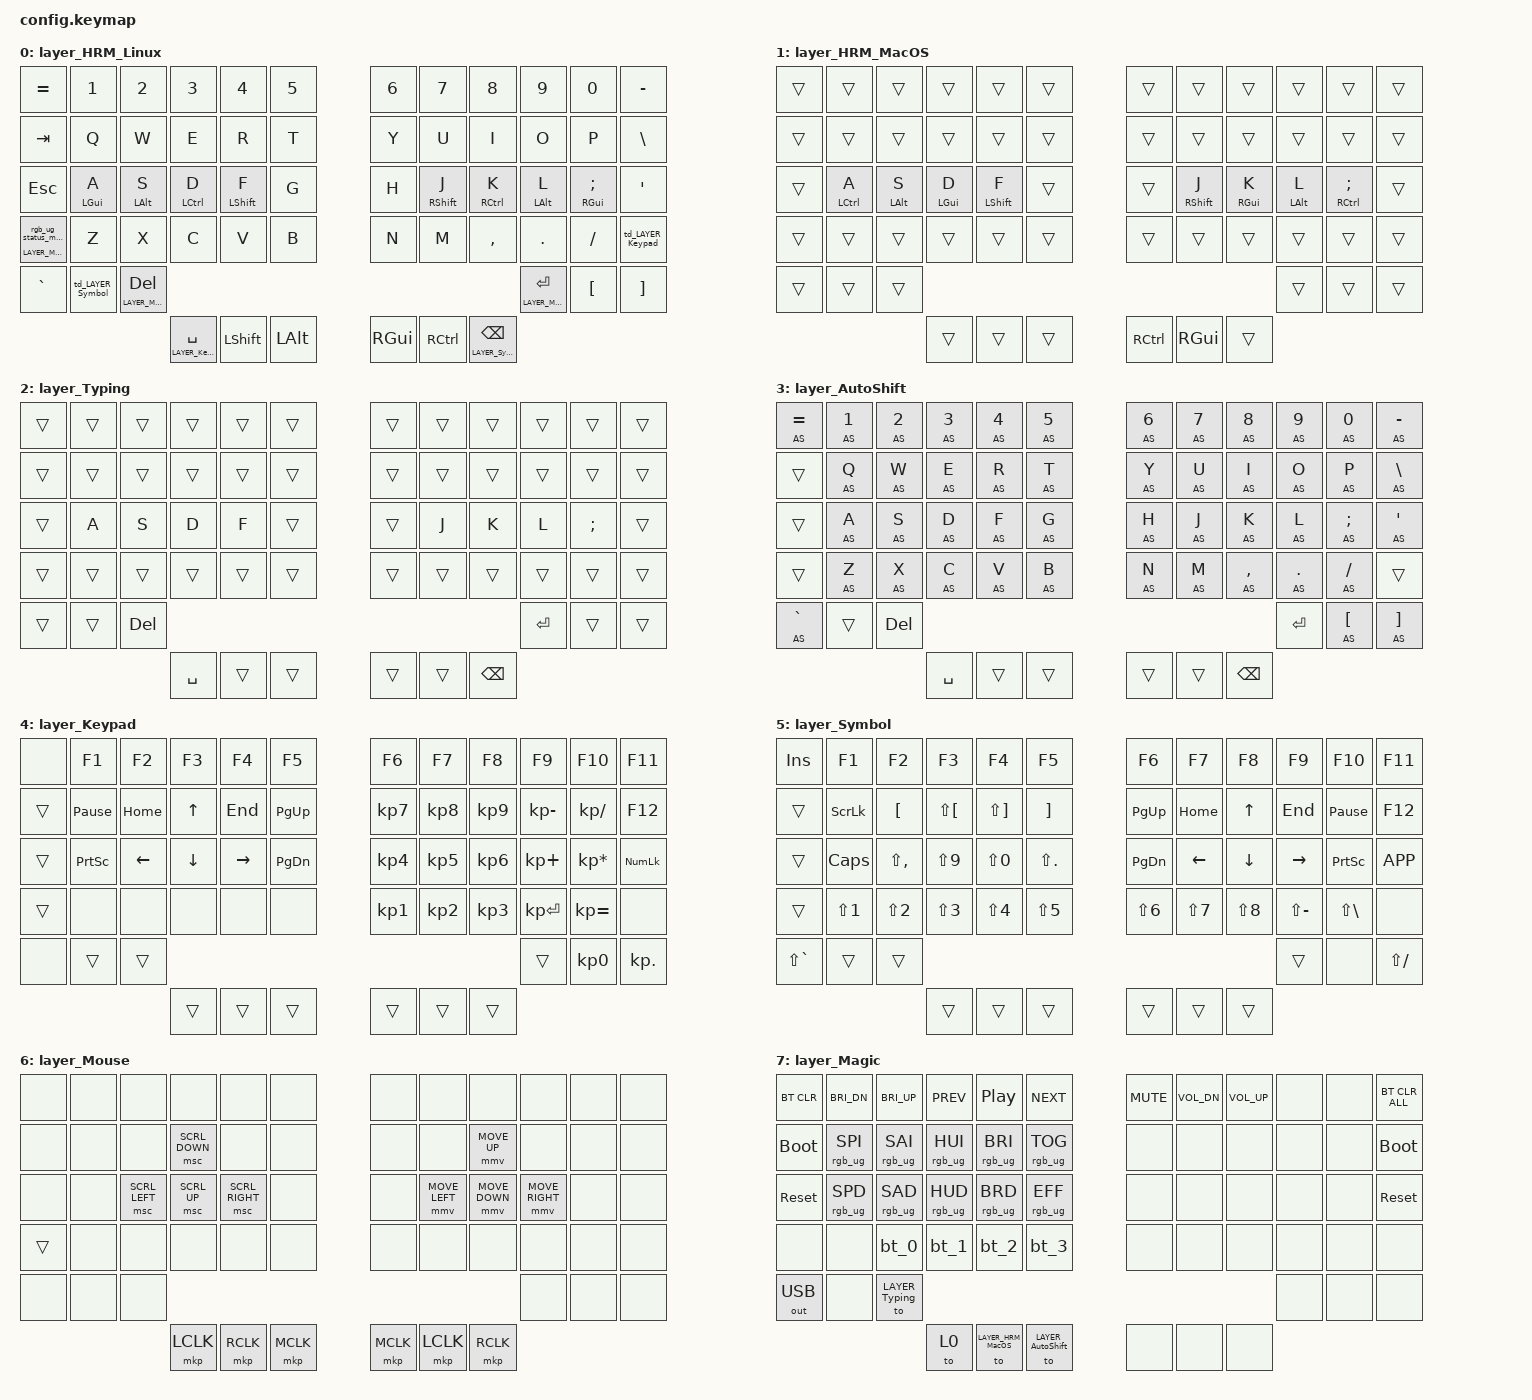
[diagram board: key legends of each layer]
/*
 * Copyright (c) 2020 The ZMK Contributors
 * Copyright (c) 2025 Innaworks Development Limited, trading as MoErgo
 *
 * SPDX-License-Identifier: MIT
 */


/* THIS FILE WAS GENERATED BY GO60 LAYOUT EDITOR
 *
 * This file was generated automatically. You may or may not want to
 * edit it directly.
 */

#include <behaviors.dtsi>

/* Include all behavior includes needed */

#include <dt-bindings/zmk/outputs.h>
#include <dt-bindings/zmk/keys.h>
#include <dt-bindings/zmk/bt.h>
#include <dt-bindings/zmk/rgb.h>

#include <input/processors.dtsi>
#include <dt-bindings/zmk/input_transform.h>
#include <zephyr/dt-bindings/input/input-event-codes.h>

/* On demand includes */
#include <dt-bindings/zmk/input_transform.h>
#include <dt-bindings/zmk/pointing.h>
#include <input/processors.dtsi>

/* Helper Macros, based on https://github.com/urob/zmk-helpers/ */

#pragma once

#define ZMK_HELPER_STRINGIFY(x) #x

// Preprocessor mechanism to overload macros, cf. https://stackoverflow.com/a/27051616/6114651
#define VARGS_(_10, _9, _8, _7, _6, _5, _4, _3, _2, _1, N, ...) N
#define VARGS(...) VARGS_(__VA_ARGS__, 10, 9, 8, 7, 6, 5, 4, 3, 2, 1, 0)
#define CONCAT_(a, b) a##b
#define CONCAT(a, b) CONCAT_(a, b)

#define ZMK_BEHAVIOR_CORE_tap_dance  \
    compatible = "zmk,behavior-tap-dance"; \
    #binding-cells = <0>

#define ZMK_BEHAVIOR(name, type, ...) \
    name: name { \
        ZMK_BEHAVIOR_CORE_ ## type; \
        __VA_ARGS__ \
    };

#define ZMK_TAP_DANCE(name, ...) \
    ZMK_BEHAVIOR(name, tap_dance, __VA_ARGS__)

#define ZMK_TD_LAYER(name, layer) \
    ZMK_TAP_DANCE(name, \
        tapping-term-ms = <200>; \
        bindings = <&mo layer>, <&to layer>; \
)





/* Key positions */

#define POS_LH_C6R1 0
#define POS_LH_C5R1 1
#define POS_LH_C4R1 2
#define POS_LH_C3R1 3
#define POS_LH_C2R1 4
#define POS_LH_C1R1 5
#define POS_RH_C1R1 6
#define POS_RH_C2R1 7
#define POS_RH_C3R1 8
#define POS_RH_C4R1 9
#define POS_RH_C5R1 10
#define POS_RH_C6R1 11
#define POS_LH_C6R2 12
#define POS_LH_C5R2 13
#define POS_LH_C4R2 14
#define POS_LH_C3R2 15
#define POS_LH_C2R2 16
#define POS_LH_C1R2 17
#define POS_RH_C1R2 18
#define POS_RH_C2R2 19
#define POS_RH_C3R2 20
#define POS_RH_C4R2 21
#define POS_RH_C5R2 22
#define POS_RH_C6R2 23
#define POS_LH_C6R3 24
#define POS_LH_C5R3 25
#define POS_LH_C4R3 26
#define POS_LH_C3R3 27
#define POS_LH_C2R3 28
#define POS_LH_C1R3 29
#define POS_RH_C1R3 30
#define POS_RH_C2R3 31
#define POS_RH_C3R3 32
#define POS_RH_C4R3 33
#define POS_RH_C5R3 34
#define POS_RH_C6R3 35
#define POS_LH_C6R4 36
#define POS_LH_C5R4 37
#define POS_LH_C4R4 38
#define POS_LH_C3R4 39
#define POS_LH_C2R4 40
#define POS_LH_C1R4 41
#define POS_RH_C1R4 42
#define POS_RH_C2R4 43
#define POS_RH_C3R4 44
#define POS_RH_C4R4 45
#define POS_RH_C5R4 46
#define POS_RH_C6R4 47
#define POS_LH_C4R5 48
#define POS_LH_C3R5 49
#define POS_LH_C2R5 50
#define POS_RH_C2R5 51
#define POS_RH_C3R5 52
#define POS_RH_C4R5 53
#define POS_LH_T1 54
#define POS_LH_T2 55
#define POS_LH_T3 56
#define POS_RH_T3 57
#define POS_RH_T2 58
#define POS_RH_T1 59


#define LEFT_HAND_KEYS \
  POS_LH_C1R1 POS_LH_C2R1 POS_LH_C3R1 POS_LH_C4R1 POS_LH_C5R1 POS_LH_C6R1 \
  POS_LH_C1R2 POS_LH_C2R2 POS_LH_C3R2 POS_LH_C4R2 POS_LH_C5R2 POS_LH_C6R2 \
  POS_LH_C1R3 POS_LH_C2R3 POS_LH_C3R3 POS_LH_C4R3 POS_LH_C5R3 POS_LH_C6R3 \
  POS_LH_C1R4 POS_LH_C2R4 POS_LH_C3R4 POS_LH_C4R4 POS_LH_C5R4 POS_LH_C6R4 \
              POS_LH_C2R5 POS_LH_C3R5 POS_LH_C4R5

#define RIGHT_HAND_KEYS \
  POS_RH_C1R1 POS_RH_C2R1 POS_RH_C3R1 POS_RH_C4R1 POS_RH_C5R1 POS_RH_C6R1 \
  POS_RH_C1R2 POS_RH_C2R2 POS_RH_C3R2 POS_RH_C4R2 POS_RH_C5R2 POS_RH_C6R2 \
  POS_RH_C1R3 POS_RH_C2R3 POS_RH_C3R3 POS_RH_C4R3 POS_RH_C5R3 POS_RH_C6R3 \
  POS_RH_C1R4 POS_RH_C2R4 POS_RH_C3R4 POS_RH_C4R4 POS_RH_C5R4 POS_RH_C6R4 \
              POS_RH_C2R5 POS_RH_C3R5 POS_RH_C4R5

#define THUMB_KEYS \
  POS_LH_T1 POS_LH_T2 POS_LH_T3 \
  POS_RH_T1 POS_RH_T2 POS_RH_T3

/* Environment and metadata defines */
#define KB_TYPE_GLOVE_80 1
#define KB_TYPE_GO_60    2

#define KB_TYPE          KB_TYPE_GO_60
#define EDITOR_HOST_OS   'M'

/* Automatically generated layer name defines */
#define LAYER_HRM_Linux 0
#define LAYER_HRM_MacOS 1
#define LAYER_Typing 2
#define LAYER_AutoShift 3
#define LAYER_Keypad 4
#define LAYER_Symbol 5
#define LAYER_Mouse 6
#define LAYER_Magic 7

/* To deal with the situation where there is no Lower layer, to keep &lower happy */
#ifndef LAYER_Lower
#define LAYER_Lower 0
#endif

/* Generated input processors */
/ {
    input_processors {
        zip_click_to_right_click_mapper: zip_click_to_right_click_mapper {
            compatible = "zmk,input-processor-code-mapper";
            #input-processor-cells = <0>;
            type = <INPUT_EV_KEY>;
            map = <INPUT_BTN_0 INPUT_BTN_1>;
        };
    };
};

/* Custom Device-tree */
///////////////////////////////////////////////////////////////
// TailorKey 4.2j Go60 - RGB Lighting 
// Paste this configuration into the Custom Device-tree section
// For more into, see https://sites.google.com/view/tailorkey
////////////////////////////////////////////////////////////////

#if __has_include(<dt-bindings/zmk/rgb_colors.h>)
  //
  // Color definitions with conflict guard to prevent
  // accidental redefinition of common abbreviations.
  //
  #if defined(RED) || defined(RED_RGB) || \
      defined(COR) || defined(COR_RGB) || \
      defined(ORN) || defined(ORN_RGB) || \
      defined(GDN) || defined(GDN_RGB) || \
      defined(GOL) || defined(GOL_RGB) || \
      defined(YLW) || defined(YLW_RGB) || \
      defined(CHU) || defined(CHU_RGB) || \
      defined(GRN) || defined(GRN_RGB) || \
      defined(SPG) || defined(SPG_RGB) || \
      defined(CYN) || defined(CYN_RGB) || \
      defined(AZU) || defined(AZU_RGB) || \
      defined(TEA) || defined(TEA_RGB) || \
      defined(TUR) || defined(TUR_RGB) || \
      defined(BLU) || defined(BLU_RGB) || \
      defined(PUR) || defined(PUR_RGB) || \
      defined(MAJ) || defined(MAJ_RGB) || \
      defined(PNK) || defined(PNK_RGB) || \
      defined(WHT) || defined(WHT_RGB) || \
      defined(BLK) || defined(BLK_RGB) || \
      defined(___) || \
      defined(DUG) || defined(DUG_RGB) || \
      defined(LAC) || defined(LAC_RGB) || \
      defined(BSL) || defined(BNL) || defined(BCL) || \
      defined(SSL) || defined(SNL) || defined(SCL) || \
      defined(FST) || defined(WRP) || defined(SLO)
  #error "Naming conflict: 3-letter color abbreviation already defined!"
  #endif

  //
  // Color definitions from QMK
  // https://github.com/qmk/qmk_firmware/blob/master/quantum/color.h
  //
  #define RED_RGB 0xFF0000 // #FF0000 RED      => RED (red)
  #define COR_RGB 0xFF7C4D // #FF7C4D CORAL    => COR (coral)
  #define ORN_RGB 0xFF8000 // #FF8000 ORANGE   => ORN (ornj)
  #define GDN_RGB 0xD9A521 // #D9A521 GOLDNROD => GDN (gold'nrod)
  #define GOL_RGB 0xFFD900 // #FFD900 GOLD     => GOL (gold)
  #define YLW_RGB 0xFFFF00 // #FFFF00 YELLOW   => YLW (yellow)
  #define CHU_RGB 0x80FF00 // #80FF00 CHARTRSE => CHU (chartreuse)
  #define GRN_RGB 0x00FF00 // #00FF00 GREEN    => GRN (green)
  #define SPG_RGB 0x00FF80 // #00FF80 SPRINGRN => SPG (spring green)
  #define CYN_RGB 0x00FFFF // #00FFFF CYAN     => CYN (sigh-an)
  #define AZU_RGB 0x99F5FF // #99F5FF AZURE    => AZU (a-zur)
  #define TEA_RGB 0x008080 // #008080 TEAL     => TEA (teel)
  #define TUR_RGB 0x476E6A // #476E6A TURQUOIS => TUR (turquoise)
  #define BLU_RGB 0x0000FF // #0000FF BLUE     => BLU (bloo)
  #define PUR_RGB 0x7A00FF // #7A00FF PURPLE   => PUR (purp)
  #define MAJ_RGB 0xFF00FF // #FF00FF MAGENTA  => MAJ (mah-jenta)
  #define PNK_RGB 0xFF80BF // #FF80BF PINK     => PNK (pink)
  #define WHT_RGB 0xFFFFFF // #FFFFFF WHITE    => WHT (white)
  #define BLK_RGB 0x000000 // #000000 BLACK    => BLK (blak)

  //
  // Color definitions from MoErgo
  // https://github.com/moergo-sc/zmk/blob/aca523dfce9b6447ffd19d833b791d44f1f286de/app/src/rgb_underglow.c#L259-L265
  //
  #define DUG_RGB 0x00ff68 // #00ff68 DULL_GRN => DUG (dull green)
  #define LAC_RGB 0x6b1fce // #6b1fce LILAC    => LAC (lilac)

  //
  // Underglow for the colors above
  //
  #define RED &ug RED_RGB
  #define COR &ug COR_RGB
  #define ORN &ug ORN_RGB
  #define GDN &ug GDN_RGB
  #define GOL &ug GOL_RGB
  #define YLW &ug YLW_RGB
  #define CHU &ug CHU_RGB
  #define GRN &ug GRN_RGB
  #define SPG &ug SPG_RGB
  #define CYN &ug CYN_RGB
  #define AZU &ug AZU_RGB
  #define TEA &ug TEA_RGB
  #define TUR &ug TUR_RGB
  #define BLU &ug BLU_RGB
  #define PUR &ug PUR_RGB
  #define MAJ &ug MAJ_RGB
  #define PNK &ug PNK_RGB
  #define WHT &ug WHT_RGB
  #define ___ &ug BLK_RGB
  #define DUG &ug DUG_RGB
  #define LAC &ug LAC_RGB

  //
  // Underglow for keyboard locks on the Base layer
  //
  #define BSL &ug_sl BLK_RGB RED_RGB // ScrollLock COLOR_OFF COLOR_ON
  #define BNL &ug_nl BLK_RGB RED_RGB // NumLock    COLOR_OFF COLOR_ON
  #define BCL &ug_cl BLK_RGB RED_RGB // CapsLock   COLOR_OFF COLOR_ON

  // ==== PER-KEY-RGB PER-LAYER-RGB ====
  / {
    underglow-layer {
      compatible = "zmk,underglow-layer";
   
      #ifdef LAYER_HRM_Linux
      HRM_Linux {
        bindings = <
          ___ ___ ___ ___ ___ ___                                     ___ ___ ___ ___ ___ ___
          ___ ___ ___ ___ ___ ___                                     ___ ___ ___ ___ ___ ___
          ___ MAJ CYN CHU RED ___                                     ___ RED CHU CYN MAJ ___
          WHT ___ ___ ___ ___ ___                                     ___ ___ ___ ___ ___ WHT
                  ___ WHT WHT                                             WHT ___ ___
                                      WHT ___ ___     WHT ___ ___
        >;
        layer-id = <LAYER_HRM_Linux>;
        fade-delay = <30>;
      };
      #endif

      #ifdef LAYER_HRM_MacOS
      HRM_MacOS {
        bindings = <
          ___ ___ ___ ___ ___ ___                                     ___ ___ ___ ___ ___ ___
          ___ ___ ___ ___ ___ ___                                     ___ ___ ___ ___ ___ ___
          ___ CHU CYN MAJ RED ___                                     ___ RED MAJ CYN CHU ___
          WHT ___ ___ ___ ___ ___                                     ___ ___ ___ ___ ___ WHT
                  ___ WHT WHT                                             WHT ___ ___
                                      WHT ___ ___     WHT ___ ___
        >;
        layer-id = <LAYER_HRM_MacOS>;
        fade-delay = <30>;
      };
      #endif

      #ifdef LAYER_Typing
      Typing {
        bindings = <
          ___ ___ ___ ___ ___ ___                                     ___ ___ ___ ___ ___ ___
          ___ ___ ___ ___ ___ ___                                     ___ ___ ___ ___ ___ ___
          ___ ___ ___ ___ ___ ___                                     ___ ___ ___ ___ ___ ___
          COR ___ ___ ___ ___ ___                                     ___ ___ ___ ___ ___ COR
                  ___ COR COR                                             COR ___ ___
                                      COR ___ ___     COR ___ ___
        >;
        layer-id = <LAYER_Typing>;
        fade-delay = <180>;
      };
      #endif

      #ifdef LAYER_AutoShift
      AutoShift {
        bindings = <
          ___ ___ ___ ___ ___ ___                                     ___ ___ ___ ___ ___ ___
          ___ ___ ___ ___ ___ ___                                     ___ ___ ___ ___ ___ ___
          ___ ___ ___ ___ ___ ___                                     ___ ___ ___ ___ ___ ___
          SPG ___ ___ ___ ___ ___                                     ___ ___ ___ ___ ___ SPG
                  ___ SPG SPG                                             SPG ___ ___
                                      SPG ___ ___     SPG ___ ___
        >;
        layer-id = <LAYER_AutoShift>;
        fade-delay = <180>;
      };
      #endif

      #ifdef LAYER_Keypad
      Keypad {
        bindings = <
          ___ WHT WHT WHT WHT WHT                                     WHT WHT WHT WHT WHT WHT
          ___ PNK GRN GRN GRN GRN                                     YLW YLW YLW YLW YLW WHT
          ___ MAJ GRN GRN GRN GRN                                     YLW YLW YLW YLW YLW ORN
          ___ ___ ___ ___ ___ ___                                     YLW YLW YLW YLW YLW ___
                  ___ ___ ___                                             ___ YLW YLW
                                      ___ ___ ___     ___ ___ ___
        >;
        layer-id = <LAYER_Keypad>;
        fade-delay = <15>;
      };
      #endif

      #ifdef LAYER_Symbol
      Symbol {
        bindings = <
          TUR WHT WHT WHT WHT WHT                                     WHT WHT WHT WHT WHT WHT
          ___ GDN BLU BLU BLU BLU                                     GRN GRN GRN GRN PNK WHT
          ___ COR BLU BLU BLU BLU                                     GRN GRN GRN GRN MAJ PUR
          ___ BLU BLU BLU BLU BLU                                     BLU BLU BLU BLU BLU ___
                  BLU ___ ___                                             ___ ___ BLU
                                      ___ ___ ___     ___ ___ ___
        >;
        layer-id = <LAYER_Symbol>;
        fade-delay = <5>;
      };
      #endif

      #ifdef LAYER_Mouse
      Mouse {
        bindings = <
          ___ ___ ___ ___ ___ ___                                     ___ ___ ___ ___ ___ ___
          ___ ___ ___ TEA ___ ___                                     ___ ___ TEA ___ ___ ___
          ___ ___ TEA TEA TEA ___                                     ___ TEA TEA TEA ___ ___
          ___ ___ ___ ___ ___ ___                                     ___ ___ ___ ___ ___ ___
                  ___ ___ ___                                             ___ ___ ___
                                      TEA TEA TEA     TEA TEA TEA
        >;
        layer-id = <LAYER_Mouse>;
        fade-delay = <5>;
      };
      #endif

    };
  };
  // ==== PER-KEY-RGB PER-LAYER-RGB =====

  #undef RED
  #undef RED_RGB
  #undef COR
  #undef COR_RGB
  #undef ORN
  #undef ORN_RGB
  #undef GDN
  #undef GDN_RGB
  #undef GOL
  #undef GOL_RGB
  #undef YLW
  #undef YLW_RGB
  #undef CHU
  #undef CHU_RGB
  #undef GRN
  #undef GRN_RGB
  #undef SPG
  #undef SPG_RGB
  #undef CYN
  #undef CYN_RGB
  #undef AZU
  #undef AZU_RGB
  #undef TEA
  #undef TEA_RGB
  #undef TUR
  #undef TUR_RGB
  #undef BLU
  #undef BLU_RGB
  #undef PUR
  #undef PUR_RGB
  #undef MAJ
  #undef MAJ_RGB
  #undef PNK
  #undef PNK_RGB
  #undef WHT
  #undef WHT_RGB
  #undef BLK
  #undef BLK_RGB
  #undef ___
  #undef DUG
  #undef DUG_RGB
  #undef LAC
  #undef LAC_RGB

  #undef BSL
  #undef BNL
  #undef BCL

  #undef SSL
  #undef SNL
  #undef SCL
#endif

/* Input Listeners */
&mmv_input_listener {
};

&msc_input_listener {
};

&cirque_lh_listener {
    input-processors = <&zip_xy_scaler 1 2>, <&zip_xy_transform INPUT_TRANSFORM_Y_INVERT>, <&zip_xy_to_scroll_mapper>, <&zip_click_to_right_click_mapper>, <&zip_scroll_scaler 1 8>;
    layer_6 {
        layers = <LAYER_Mouse>;
        input-processors = <&zip_xy_transform INPUT_TRANSFORM_Y_INVERT>, <&zip_xy_to_scroll_mapper>, <&zip_click_to_right_click_mapper>, <&zip_scroll_scaler 1 8>;
    };
};

&cirque_rh_listener {
    input-processors = <&zip_xy_scaler 3 1>;
    layer_6 {
        layers = <LAYER_Mouse>;
        input-processors = <&zip_xy_scaler 9 1>;
    };
};

/* System behavior and macros */
/ {
    behaviors {
        ZMK_TD_LAYER(lower, LAYER_Lower)
    };
};

/ {
    macros {
        rgb_ug_status_macro: rgb_ug_status_macro {
            label = "RGB_UG_STATUS";
            compatible = "zmk,behavior-macro";
            #binding-cells = <0>;
            bindings
                = <&rgb_ug RGB_STATUS>;
        };
    };
};

/ {
#ifdef BT_DISC_CMD
    behaviors {
        bt_0: bt_0 {
            compatible = "zmk,behavior-tap-dance";
            label = "BT_0";
            #binding-cells = <0>;
            tapping-term-ms = <200>;
            bindings = <&bt_select_0>, <&bt BT_DISC 0>;
        };
        bt_1: bt_1 {
            compatible = "zmk,behavior-tap-dance";
            label = "BT_1";
            #binding-cells = <0>;
            tapping-term-ms = <200>;
            bindings = <&bt_select_1>, <&bt BT_DISC 1>;
        };
        bt_2: bt_2 {
            compatible = "zmk,behavior-tap-dance";
            label = "BT_2";
            #binding-cells = <0>;
            tapping-term-ms = <200>;
            bindings = <&bt_select_2>, <&bt BT_DISC 2>;
        };
        bt_3: bt_3 {
            compatible = "zmk,behavior-tap-dance";
            label = "BT_3";
            #binding-cells = <0>;
            tapping-term-ms = <200>;
            bindings = <&bt_select_3>, <&bt BT_DISC 3>;
        };
    };
    macros {
        bt_select_0: bt_select_0 {
            label = "BT_SELECT_0";
            compatible = "zmk,behavior-macro";
            #binding-cells = <0>;
            bindings
                = <&out OUT_BLE>,
                  <&bt BT_SEL 0>;
        };
        bt_select_1: bt_select_1 {
            label = "BT_SELECT_1";
            compatible = "zmk,behavior-macro";
            #binding-cells = <0>;
            bindings
                = <&out OUT_BLE>,
                  <&bt BT_SEL 1>;
        };
        bt_select_2: bt_select_2 {
            label = "BT_SELECT_2";
            compatible = "zmk,behavior-macro";
            #binding-cells = <0>;
            bindings
                = <&out OUT_BLE>,
                  <&bt BT_SEL 2>;
        };
        bt_select_3: bt_select_3 {
            label = "BT_SELECT_3";
            compatible = "zmk,behavior-macro";
            #binding-cells = <0>;
            bindings
                = <&out OUT_BLE>,
                  <&bt BT_SEL 3>;
        };
    };
#else
    macros {
        bt_0: bt_0 {
            label = "BT_0";
            compatible = "zmk,behavior-macro";
            #binding-cells = <0>;
            bindings
                = <&out OUT_BLE>,
                  <&bt BT_SEL 0>;
        };
        bt_1: bt_1 {
            label = "BT_1";
            compatible = "zmk,behavior-macro";
            #binding-cells = <0>;
            bindings
                = <&out OUT_BLE>,
                  <&bt BT_SEL 1>;
        };
        bt_2: bt_2 {
            label = "BT_2";
            compatible = "zmk,behavior-macro";
            #binding-cells = <0>;
            bindings
                = <&out OUT_BLE>,
                  <&bt BT_SEL 2>;
        };
        bt_3: bt_3 {
            label = "BT_3";
            compatible = "zmk,behavior-macro";
            #binding-cells = <0>;
            bindings
                = <&out OUT_BLE>,
                  <&bt BT_SEL 3>;
        };
    };
#endif
};

/ {
    behaviors {
        magic: magic {
            compatible = "zmk,behavior-hold-tap";
            label = "MAGIC_HOLD_TAP";
            #binding-cells = <2>;
            flavor = "tap-preferred";
            tapping-term-ms = <200>;
            bindings = <&mo>, <&rgb_ug_status_macro>;
        };
    };
};


/* Custom Defined Behaviors */
/ {

};

/* Automatically generated macro definitions */
/ {
    macros {

        // AutoShift helper - &AS macro is chained to &AS_HT hold tap and &AS_shifted macro
        AS_shifted: AS_shifted {
            label = "&AS_SHIFTED";
            compatible = "zmk,behavior-macro-one-param";
            #binding-cells = <1>;
            tap-ms = <0>;
            wait-ms = <0>;
            bindings = <&macro_press>
                , <&kp LSHFT>
                , <&macro_tap>
                , <&macro_param_1to1>
                , <&kp MACRO_PLACEHOLDER>
                , <&macro_release>
                , <&kp LSHFT>;
        };

        // AutoShift main - &AS macro is chained to &AS_HT hold tap and &AS_shifted macro
        AS: AS {
            label = "&AS";
            compatible = "zmk,behavior-macro-one-param";
            #binding-cells = <1>;
            tap-ms = <0>;
            wait-ms = <0>;
            bindings = <&macro_press>
                , <&macro_param_1to1>
                , <&macro_param_1to2>
                , <&AS_HT MACRO_PLACEHOLDER MACRO_PLACEHOLDER>
                , <&macro_pause_for_release>
                , <&macro_release>
                , <&macro_param_1to1>
                , <&macro_param_1to2>
                , <&AS_HT MACRO_PLACEHOLDER MACRO_PLACEHOLDER>;
        };
    };
};

/* Automatically generated behavior definitions */
/ {
    behaviors {

        // Layer tap dance behaviors

        ZMK_TD_LAYER(td_LAYER_Keypad, 4)
        ZMK_TD_LAYER(td_LAYER_Symbol, 5)

        // AutoShift helper - &AS macro is chained to &AS_HT hold tap and &AS_shifted macro
        AS_HT: AS_HT {
            compatible = "zmk,behavior-hold-tap";
            #binding-cells = <2>;
            tapping-term-ms = <135>;
            bindings = <&AS_shifted>, <&kp>;
            flavor = "tap-preferred";
        };

        // Home-Row Mod for the left index finger
        HRM_left_index: HRM_left_index {
            compatible = "zmk,behavior-hold-tap";
            #binding-cells = <2>;
            tapping-term-ms = <180>;
            bindings = <&kp>, <&kp>;
            flavor = "tap-preferred";
            quick-tap-ms = <300>;
            require-prior-idle-ms = <100>;
            hold-trigger-key-positions = <POS_RH_T3 POS_RH_T2 POS_RH_T1 POS_RH_C1R1 POS_RH_C2R1 POS_RH_C3R1 POS_RH_C4R1 POS_RH_C5R1 POS_RH_C1R2 POS_RH_C2R2 POS_RH_C3R2 POS_RH_C4R2 POS_RH_C5R2 POS_RH_C1R3 POS_RH_C2R3 POS_RH_C3R3 POS_RH_C4R3 POS_RH_C5R3 POS_RH_C1R4 POS_RH_C2R4 POS_RH_C3R4 POS_RH_C4R4 POS_RH_C5R4 POS_RH_C2R5 POS_RH_C3R5 POS_RH_C4R5 POS_RH_C6R1 POS_RH_C6R2 POS_RH_C6R3 POS_RH_C6R4 POS_LH_T2 POS_LH_T3 POS_LH_T1>;
            hold-trigger-on-release;
        };

        // Home-Row Mod for the left middle finger
        HRM_left_middle: HRM_left_middle {
            compatible = "zmk,behavior-hold-tap";
            #binding-cells = <2>;
            tapping-term-ms = <210>;
            bindings = <&kp>, <&kp>;
            flavor = "tap-preferred";
            quick-tap-ms = <300>;
            require-prior-idle-ms = <150>;
            hold-trigger-key-positions = <POS_RH_T3 POS_RH_T2 POS_RH_T1 POS_RH_C1R1 POS_RH_C2R1 POS_RH_C3R1 POS_RH_C4R1 POS_RH_C5R1 POS_RH_C1R2 POS_RH_C2R2 POS_RH_C3R2 POS_RH_C4R2 POS_RH_C5R2 POS_RH_C1R3 POS_RH_C2R3 POS_RH_C3R3 POS_RH_C4R3 POS_RH_C5R3 POS_RH_C1R4 POS_RH_C2R4 POS_RH_C3R4 POS_RH_C4R4 POS_RH_C5R4 POS_RH_C2R5 POS_RH_C3R5 POS_RH_C4R5 POS_RH_C6R1 POS_RH_C6R2 POS_RH_C6R3 POS_RH_C6R4 POS_LH_T1 POS_LH_T2 POS_LH_T3>;
            hold-trigger-on-release;
        };

        // Home-Row Mod for the left pinky finger
        HRM_left_pinky: HRM_left_pinky {
            compatible = "zmk,behavior-hold-tap";
            #binding-cells = <2>;
            tapping-term-ms = <270>;
            bindings = <&kp>, <&kp>;
            flavor = "tap-preferred";
            quick-tap-ms = <300>;
            require-prior-idle-ms = <150>;
            hold-trigger-key-positions = <POS_RH_T3 POS_RH_T2 POS_RH_T1 POS_RH_C1R1 POS_RH_C2R1 POS_RH_C3R1 POS_RH_C4R1 POS_RH_C5R1 POS_RH_C6R1 POS_RH_C2R2 POS_RH_C3R2 POS_RH_C4R2 POS_RH_C5R2 POS_RH_C6R2 POS_RH_C3R3 POS_RH_C4R3 POS_RH_C5R3 POS_RH_C6R3 POS_RH_C3R4 POS_RH_C4R4 POS_RH_C5R4 POS_RH_C6R4 POS_RH_C1R2 POS_RH_C1R3 POS_RH_C2R3 POS_RH_C1R4 POS_RH_C2R4 POS_RH_C2R5 POS_RH_C3R5 POS_RH_C4R5 POS_LH_T1 POS_LH_T2 POS_LH_T3>;
            hold-trigger-on-release;
        };

        // Home-Row Mod for the left ring finger
        HRM_left_ring: HRM_left_ring {
            compatible = "zmk,behavior-hold-tap";
            #binding-cells = <2>;
            tapping-term-ms = <240>;
            bindings = <&kp>, <&kp>;
            flavor = "tap-preferred";
            quick-tap-ms = <300>;
            require-prior-idle-ms = <150>;
            hold-trigger-key-positions = <POS_RH_T3 POS_RH_T2 POS_RH_T1 POS_RH_C1R1 POS_RH_C2R1 POS_RH_C3R1 POS_RH_C4R1 POS_RH_C5R1 POS_RH_C1R2 POS_RH_C2R2 POS_RH_C3R2 POS_RH_C4R2 POS_RH_C5R2 POS_RH_C1R3 POS_RH_C2R3 POS_RH_C3R3 POS_RH_C4R3 POS_RH_C5R3 POS_RH_C1R4 POS_RH_C2R4 POS_RH_C3R4 POS_RH_C4R4 POS_RH_C5R4 POS_RH_C2R5 POS_RH_C3R5 POS_RH_C4R5 POS_RH_C6R1 POS_RH_C6R2 POS_RH_C6R3 POS_RH_C6R4 POS_LH_T1 POS_LH_T2 POS_LH_T3>;
            hold-trigger-on-release;
        };

        // Home-Row Mod for the right index finger
        HRM_right_index: HRM_right_index {
            compatible = "zmk,behavior-hold-tap";
            #binding-cells = <2>;
            tapping-term-ms = <180>;
            bindings = <&kp>, <&kp>;
            flavor = "tap-preferred";
            quick-tap-ms = <300>;
            require-prior-idle-ms = <100>;
            hold-trigger-key-positions = <POS_LH_T3 POS_LH_T2 POS_LH_T1 POS_LH_C6R1 POS_LH_C5R1 POS_LH_C4R1 POS_LH_C3R1 POS_LH_C2R1 POS_LH_C6R2 POS_LH_C5R2 POS_LH_C4R2 POS_LH_C3R2 POS_LH_C2R2 POS_LH_C1R2 POS_LH_C6R3 POS_LH_C5R3 POS_LH_C4R3 POS_LH_C3R3 POS_LH_C2R3 POS_LH_C1R3 POS_LH_C6R4 POS_LH_C5R4 POS_LH_C4R4 POS_LH_C3R4 POS_LH_C2R4 POS_LH_C1R4 POS_LH_C4R5 POS_LH_C3R5 POS_LH_C2R5 POS_LH_C1R1 POS_RH_T3 POS_RH_T2 POS_RH_T1>;
            hold-trigger-on-release;
        };

        // Home-Row Mod for the right middle finger
        HRM_right_middle: HRM_right_middle {
            compatible = "zmk,behavior-hold-tap";
            #binding-cells = <2>;
            tapping-term-ms = <210>;
            bindings = <&kp>, <&kp>;
            flavor = "tap-preferred";
            quick-tap-ms = <300>;
            require-prior-idle-ms = <150>;
            hold-trigger-key-positions = <POS_LH_T3 POS_LH_T2 POS_LH_T1 POS_LH_C6R1 POS_LH_C5R1 POS_LH_C4R1 POS_LH_C3R1 POS_LH_C2R1 POS_LH_C6R2 POS_LH_C5R2 POS_LH_C4R2 POS_LH_C3R2 POS_LH_C2R2 POS_LH_C1R2 POS_LH_C6R3 POS_LH_C5R3 POS_LH_C4R3 POS_LH_C3R3 POS_LH_C2R3 POS_LH_C1R3 POS_LH_C6R4 POS_LH_C5R4 POS_LH_C4R4 POS_LH_C3R4 POS_LH_C2R4 POS_LH_C1R4 POS_LH_C4R5 POS_LH_C3R5 POS_LH_C2R5 POS_LH_C1R1 POS_RH_T3 POS_RH_T2 POS_RH_T1>;
            hold-trigger-on-release;
        };

        // Home-Row Mod for the right pinky finger
        HRM_right_pinky: HRM_right_pinky {
            compatible = "zmk,behavior-hold-tap";
            #binding-cells = <2>;
            tapping-term-ms = <270>;
            bindings = <&kp>, <&kp>;
            flavor = "tap-preferred";
            quick-tap-ms = <300>;
            require-prior-idle-ms = <150>;
            hold-trigger-key-positions = <POS_LH_T3 POS_LH_T2 POS_LH_T1 POS_LH_C6R1 POS_LH_C5R1 POS_LH_C4R1 POS_LH_C3R1 POS_LH_C2R1 POS_LH_C6R2 POS_LH_C5R2 POS_LH_C4R2 POS_LH_C3R2 POS_LH_C2R2 POS_LH_C1R2 POS_LH_C6R3 POS_LH_C5R3 POS_LH_C4R3 POS_LH_C3R3 POS_LH_C2R3 POS_LH_C1R3 POS_LH_C6R4 POS_LH_C5R4 POS_LH_C4R4 POS_LH_C3R4 POS_LH_C2R4 POS_LH_C1R4 POS_LH_C4R5 POS_LH_C3R5 POS_LH_C2R5 POS_LH_C1R1 POS_RH_T3 POS_RH_T2 POS_RH_T1>;
            hold-trigger-on-release;
        };

        // Home-Row Mod for the right ring finger
        //
        HRM_right_ring: HRM_right_ring {
            compatible = "zmk,behavior-hold-tap";
            #binding-cells = <2>;
            tapping-term-ms = <240>;
            bindings = <&kp>, <&kp>;
            flavor = "tap-preferred";
            quick-tap-ms = <300>;
            require-prior-idle-ms = <150>;
            hold-trigger-key-positions = <POS_LH_T3 POS_LH_T2 POS_LH_T1 POS_LH_C6R1 POS_LH_C5R1 POS_LH_C4R1 POS_LH_C3R1 POS_LH_C2R1 POS_LH_C6R2 POS_LH_C5R2 POS_LH_C4R2 POS_LH_C3R2 POS_LH_C2R2 POS_LH_C1R2 POS_LH_C6R3 POS_LH_C5R3 POS_LH_C4R3 POS_LH_C3R3 POS_LH_C2R3 POS_LH_C1R3 POS_LH_C6R4 POS_LH_C5R4 POS_LH_C4R4 POS_LH_C3R4 POS_LH_C2R4 POS_LH_C1R4 POS_LH_C4R5 POS_LH_C3R5 POS_LH_C2R5 POS_LH_C1R1 POS_RH_T3 POS_RH_T2 POS_RH_T1>;
            hold-trigger-on-release;
        };

        // space_layer_access - TailorKey
        space: space {
            compatible = "zmk,behavior-hold-tap";
            #binding-cells = <2>;
            tapping-term-ms = <200>;
            bindings = <&mo>, <&kp>;
            flavor = "balanced";
            quick-tap-ms = <150>;
        };

        // thumb_layer_access - TailorKey
        thumb: thumb {
            compatible = "zmk,behavior-hold-tap";
            #binding-cells = <2>;
            tapping-term-ms = <200>;
            bindings = <&mo>, <&kp>;
            flavor = "balanced";
            quick-tap-ms = <300>;
        };
    };
};

/* Automatically generated combos definitions */
/ {
    combos {
        compatible = "zmk,combos";

        // F10 combo
        combo_F10 {
            key-positions = <POS_RH_C5R1 POS_RH_C5R2>;
            bindings = <&kp F10>;
            layers = <LAYER_HRM_Linux LAYER_Typing LAYER_AutoShift LAYER_HRM_MacOS>;
        };

        // F1 combo
        combo_F1 {
            key-positions = <POS_LH_C5R1 POS_LH_C5R2>;
            bindings = <&kp F1>;
            layers = <LAYER_HRM_Linux LAYER_Typing LAYER_AutoShift LAYER_HRM_MacOS>;
        };

        // F11 combo
        combo_F11 {
            key-positions = <POS_RH_C6R1 POS_RH_C6R2>;
            bindings = <&kp F11>;
            layers = <LAYER_HRM_Linux LAYER_Typing LAYER_AutoShift LAYER_HRM_MacOS>;
        };

        // F12 combo
        combo_F12 {
            key-positions = <POS_RH_C5R1 POS_RH_C6R1>;
            bindings = <&kp F12>;
            layers = <LAYER_HRM_Linux LAYER_Typing LAYER_AutoShift LAYER_HRM_MacOS>;
        };

        // F2 combo
        combo_F2 {
            key-positions = <POS_LH_C4R2 POS_LH_C4R1>;
            bindings = <&kp F2>;
            layers = <LAYER_HRM_Linux LAYER_Typing LAYER_AutoShift LAYER_HRM_MacOS>;
        };

        // F3 combo
        combo_F3 {
            key-positions = <POS_LH_C3R2 POS_LH_C3R1>;
            bindings = <&kp F3>;
            layers = <LAYER_HRM_Linux LAYER_Typing LAYER_AutoShift LAYER_HRM_MacOS>;
        };

        // F4 combo
        combo_F4 {
            key-positions = <POS_LH_C2R2 POS_LH_C2R1>;
            bindings = <&kp F4>;
            layers = <LAYER_HRM_Linux LAYER_Typing LAYER_AutoShift LAYER_HRM_MacOS>;
        };

        // F5 combo
        combo_F5 {
            key-positions = <POS_LH_C1R2 POS_LH_C1R1>;
            bindings = <&kp F5>;
            layers = <LAYER_HRM_Linux LAYER_Typing LAYER_AutoShift LAYER_HRM_MacOS>;
        };

        // F6 combo
        combo_F6 {
            key-positions = <POS_RH_C1R1 POS_RH_C1R2>;
            bindings = <&kp F6>;
            layers = <LAYER_HRM_Linux LAYER_Typing LAYER_AutoShift LAYER_HRM_MacOS>;
        };

        // F7 combo
        combo_F7 {
            key-positions = <POS_RH_C2R1 POS_RH_C2R2>;
            bindings = <&kp F7>;
            layers = <LAYER_HRM_Linux LAYER_Typing LAYER_AutoShift LAYER_HRM_MacOS>;
        };

        // F8 combo
        combo_F8 {
            key-positions = <POS_RH_C3R1 POS_RH_C3R2>;
            bindings = <&kp F8>;
            layers = <LAYER_HRM_Linux LAYER_Typing LAYER_AutoShift LAYER_HRM_MacOS>;
        };

        // F9 combo
        combo_F9 {
            key-positions = <POS_RH_C4R1 POS_RH_C4R2>;
            bindings = <&kp F9>;
            layers = <LAYER_HRM_Linux LAYER_Typing LAYER_AutoShift LAYER_HRM_MacOS>;
        };

        // capslock combo for AutoShift
        combo_capslock {
            timeout-ms = <50>;
            key-positions = <POS_LH_T1 POS_RH_T1>;
            bindings = <&kp CAPS>;
            layers = <LAYER_AutoShift>;
        };
    };
};

/* Automatically generated keymap */
/ {
    keymap {
        compatible = "zmk,keymap";


        layer_HRM_Linux {
            bindings = <
            &kp EQUAL                  &kp N1                 &kp N2                    &kp N3                   &kp N4  &kp N5                                                                                                 &kp N6                    &kp N7                     &kp N8                  &kp N9                      &kp N0         &kp MINUS
              &kp TAB                   &kp Q                  &kp W                     &kp E                    &kp R   &kp T                                                                                                  &kp Y                     &kp U                      &kp I                   &kp O                       &kp P          &kp BSLH
              &kp ESC  &HRM_left_pinky LGUI A  &HRM_left_ring LALT S  &HRM_left_middle LCTRL D  &HRM_left_index LSHFT F   &kp G                                                                                                  &kp H  &HRM_right_index RSHFT J  &HRM_right_middle RCTRL K  &HRM_right_ring LALT L  &HRM_right_pinky RGUI SEMI           &kp SQT
 &magic LAYER_Magic 0                   &kp Z                  &kp X                     &kp C                    &kp V   &kp B                                                                                                  &kp N                     &kp M                  &kp COMMA                 &kp DOT                    &kp FSLH  &td_LAYER_Keypad
                                                           &kp GRAVE          &td_LAYER_Symbol   &thumb LAYER_Mouse DEL                                                                                                                   &thumb LAYER_Mouse RET                   &kp LBKT                &kp RBKT
                                                                                                                                 &space LAYER_Keypad SPACE  &kp LSHFT  &kp LALT  &kp RGUI  &kp RCTRL  &thumb LAYER_Symbol BSPC
            >;
        };

        layer_HRM_MacOS {
            bindings = <
 &trans                   &trans                 &trans                   &trans                   &trans  &trans                                                       &trans                    &trans                    &trans                  &trans                       &trans  &trans
 &trans                   &trans                 &trans                   &trans                   &trans  &trans                                                       &trans                    &trans                    &trans                  &trans                       &trans  &trans
 &trans  &HRM_left_pinky LCTRL A  &HRM_left_ring LALT S  &HRM_left_middle LGUI D  &HRM_left_index LSHFT F  &trans                                                       &trans  &HRM_right_index RSHFT J  &HRM_right_middle RGUI K  &HRM_right_ring LALT L  &HRM_right_pinky RCTRL SEMI  &trans
 &trans                   &trans                 &trans                   &trans                   &trans  &trans                                                       &trans                    &trans                    &trans                  &trans                       &trans  &trans
                                                 &trans                   &trans                   &trans                                                                                         &trans                    &trans                  &trans
                                                                                                                   &trans  &trans  &trans  &kp RCTRL  &kp RGUI  &trans
            >;
        };

        layer_Typing {
            bindings = <
 &trans  &trans  &trans  &trans   &trans  &trans                                                       &trans   &trans  &trans  &trans    &trans  &trans
 &trans  &trans  &trans  &trans   &trans  &trans                                                       &trans   &trans  &trans  &trans    &trans  &trans
 &trans   &kp A   &kp S   &kp D    &kp F  &trans                                                       &trans    &kp J   &kp K   &kp L  &kp SEMI  &trans
 &trans  &trans  &trans  &trans   &trans  &trans                                                       &trans   &trans  &trans  &trans    &trans  &trans
                 &trans  &trans  &kp DEL                                                                       &kp RET  &trans  &trans
                                                  &kp SPACE  &trans  &trans  &trans  &trans  &kp BSPC
            >;
        };

        layer_AutoShift {
            bindings = <
 &AS EQUAL  &AS N1     &AS N2  &AS N3   &AS N4  &AS N5                                                       &AS N6   &AS N7     &AS N8    &AS N9    &AS N0  &AS MINUS
    &trans   &AS Q      &AS W   &AS E    &AS R   &AS T                                                        &AS Y    &AS U      &AS I     &AS O     &AS P   &AS BSLH
    &trans   &AS A      &AS S   &AS D    &AS F   &AS G                                                        &AS H    &AS J      &AS K     &AS L  &AS SEMI    &AS SQT
    &trans   &AS Z      &AS X   &AS C    &AS V   &AS B                                                        &AS N    &AS M  &AS COMMA   &AS DOT  &AS FSLH     &trans
                    &AS GRAVE  &trans  &kp DEL                                                                       &kp RET   &AS LBKT  &AS RBKT
                                                        &kp SPACE  &trans  &trans  &trans  &trans  &kp BSPC
            >;
        };

        layer_Keypad {
            bindings = <
  &none           &kp F1    &kp F2    &kp F3     &kp F4     &kp F5                                                     &kp F6     &kp F7     &kp F8        &kp F9          &kp F10     &kp F11
 &trans  &kp PAUSE_BREAK  &kp HOME    &kp UP    &kp END  &kp PG_UP                                                  &kp KP_N7  &kp KP_N8  &kp KP_N9  &kp KP_MINUS     &kp KP_SLASH     &kp F12
 &trans        &kp PSCRN  &kp LEFT  &kp DOWN  &kp RIGHT  &kp PG_DN                                                  &kp KP_N4  &kp KP_N5  &kp KP_N6   &kp KP_PLUS  &kp KP_MULTIPLY  &kp KP_NUM
 &trans            &none     &none     &none      &none      &none                                                  &kp KP_N1  &kp KP_N2  &kp KP_N3  &kp KP_ENTER     &kp KP_EQUAL       &none
                             &none    &trans     &trans                                                                           &trans  &kp KP_N0    &kp KP_DOT
                                                                    &trans  &trans  &trans  &trans  &trans  &trans
            >;
        };

        layer_Symbol {
            bindings = <
 &kp INS      &kp F1         &kp F2        &kp F3        &kp F4       &kp F5                                                      &kp F6      &kp F7      &kp F8         &kp F9          &kp F10    &kp F11
  &trans    &kp SLCK       &kp LBKT  &kp LS(LBKT)  &kp LS(RBKT)     &kp RBKT                                                   &kp PG_UP    &kp HOME      &kp UP        &kp END  &kp PAUSE_BREAK    &kp F12
  &trans    &kp CAPS  &kp LS(COMMA)    &kp LS(N9)    &kp LS(N0)  &kp LS(DOT)                                                   &kp PG_DN    &kp LEFT    &kp DOWN      &kp RIGHT        &kp PSCRN  &kp K_APP
  &trans  &kp LS(N1)     &kp LS(N2)    &kp LS(N3)    &kp LS(N4)   &kp LS(N5)                                                  &kp LS(N6)  &kp LS(N7)  &kp LS(N8)  &kp LS(MINUS)     &kp LS(BSLH)      &none
                      &kp LS(GRAVE)        &trans        &trans                                                                               &trans       &none   &kp LS(FSLH)
                                                                              &trans  &trans  &trans  &trans  &trans  &trans
            >;
        };

        layer_Mouse {
            bindings = <
  &none   &none           &none           &none            &none   &none                                                                     &none           &none           &none            &none   &none   &none
  &none   &none           &none  &msc SCRL_DOWN            &none   &none                                                                     &none           &none    &mmv MOVE_UP            &none   &none   &none
  &none   &none  &msc SCRL_LEFT    &msc SCRL_UP  &msc SCRL_RIGHT   &none                                                                     &none  &mmv MOVE_LEFT  &mmv MOVE_DOWN  &mmv MOVE_RIGHT   &none   &none
 &trans   &none           &none           &none            &none   &none                                                                     &none           &none           &none            &none   &none   &none
                          &none           &none            &none                                                                                             &none           &none            &none
                                                                          &mkp LCLK  &mkp RCLK  &mkp MCLK  &mkp MCLK  &mkp LCLK  &mkp RCLK
            >;
        };

        layer_Magic {
            bindings = <
  &bt BT_CLR     &kp C_BRI_DN     &kp C_BRI_UP       &kp C_PREV          &kp C_PP       &kp C_NEXT                                                                            &kp C_MUTE  &kp C_VOL_DN  &kp C_VOL_UP   &none   &none  &bt BT_CLR_ALL
 &bootloader  &rgb_ug RGB_SPI  &rgb_ug RGB_SAI  &rgb_ug RGB_HUI   &rgb_ug RGB_BRI  &rgb_ug RGB_TOG                                                                                 &none         &none         &none   &none   &none     &bootloader
  &sys_reset  &rgb_ug RGB_SPD  &rgb_ug RGB_SAD  &rgb_ug RGB_HUD   &rgb_ug RGB_BRD  &rgb_ug RGB_EFF                                                                                 &none         &none         &none   &none   &none      &sys_reset
       &none            &none            &bt_0            &bt_1             &bt_2            &bt_3                                                                                 &none         &none         &none   &none   &none           &none
                                  &out OUT_USB            &none  &to LAYER_Typing                                                                                                                &none         &none   &none
                                                                                                     &to 0  &to LAYER_HRM_MacOS  &to LAYER_AutoShift   &none   &none   &none
            >;
        };

    };
};
